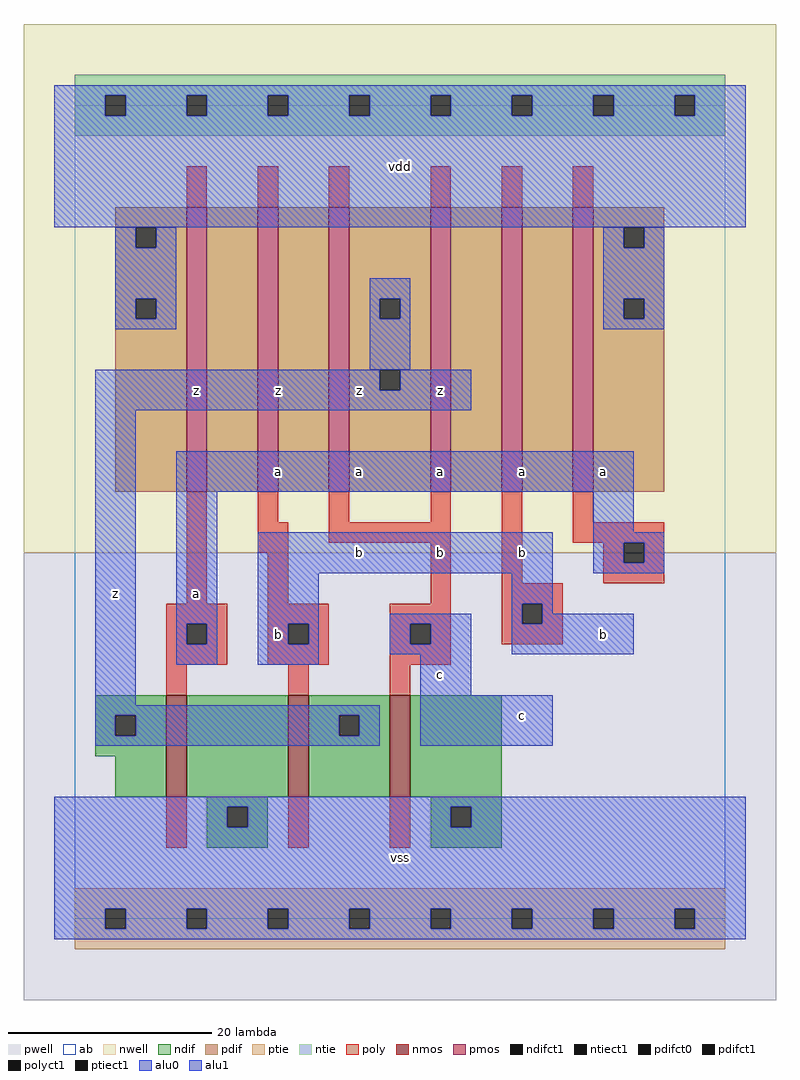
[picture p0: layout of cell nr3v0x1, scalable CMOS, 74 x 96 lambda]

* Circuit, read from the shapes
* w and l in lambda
.subckt nr3v0x1 a b c vdd vss z
M1 vss a z vss nfet w=10 l=2
M2 z b vss vss nfet w=10 l=2
M3 vss c z vss nfet w=10 l=2
M4 n1 a vdd vdd pfet w=28 l=2
M5 n2 b n1 vdd pfet w=28 l=2
M6 z c n2 vdd pfet w=28 l=2
M7 n3 c z vdd pfet w=28 l=2
M8 n4 b n3 vdd pfet w=28 l=2
M9 vdd a n4 vdd pfet w=28 l=2
.ends

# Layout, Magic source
magic
tech scmos
<< ab >>
rect 0 0 64 80
<< nwell >>
rect -5 36 69 88
<< pwell >>
rect -5 -8 69 36
<< poly >>
rect 11 70 13 74
rect 18 70 20 74
rect 25 70 27 74
rect 35 70 37 74
rect 42 70 44 74
rect 49 70 51 74
rect 11 31 13 42
rect 18 39 20 42
rect 25 39 27 42
rect 35 39 37 42
rect 18 36 21 39
rect 25 37 37 39
rect 19 31 21 36
rect 35 31 37 37
rect 9 29 15 31
rect 9 27 11 29
rect 13 27 15 29
rect 9 25 15 27
rect 19 29 25 31
rect 19 27 21 29
rect 23 27 25 29
rect 19 25 25 27
rect 31 29 37 31
rect 31 27 33 29
rect 35 27 37 29
rect 42 33 44 42
rect 49 39 51 42
rect 49 37 58 39
rect 52 35 54 37
rect 56 35 58 37
rect 52 33 58 35
rect 42 31 48 33
rect 42 29 44 31
rect 46 29 48 31
rect 42 27 48 29
rect 31 25 37 27
rect 9 22 11 25
rect 21 22 23 25
rect 31 22 33 25
rect 9 7 11 12
rect 21 7 23 12
rect 31 7 33 12
<< ndif >>
rect 2 20 9 22
rect 2 18 4 20
rect 6 18 9 20
rect 2 16 9 18
rect 4 12 9 16
rect 11 12 21 22
rect 23 20 31 22
rect 23 18 26 20
rect 28 18 31 20
rect 23 12 31 18
rect 33 12 42 22
rect 13 11 19 12
rect 13 9 15 11
rect 17 9 19 11
rect 13 7 19 9
rect 35 11 42 12
rect 35 9 37 11
rect 39 9 42 11
rect 35 7 42 9
<< pdif >>
rect 4 68 11 70
rect 4 66 6 68
rect 8 66 11 68
rect 4 61 11 66
rect 4 59 6 61
rect 8 59 11 61
rect 4 42 11 59
rect 13 42 18 70
rect 20 42 25 70
rect 27 61 35 70
rect 27 59 30 61
rect 32 59 35 61
rect 27 54 35 59
rect 27 52 30 54
rect 32 52 35 54
rect 27 42 35 52
rect 37 42 42 70
rect 44 42 49 70
rect 51 68 58 70
rect 51 66 54 68
rect 56 66 58 68
rect 51 61 58 66
rect 51 59 54 61
rect 56 59 58 61
rect 51 42 58 59
<< alu1 >>
rect -2 81 66 82
rect -2 79 3 81
rect 5 79 11 81
rect 13 79 19 81
rect 21 79 27 81
rect 29 79 35 81
rect 37 79 43 81
rect 45 79 51 81
rect 53 79 59 81
rect 61 79 66 81
rect -2 68 66 79
rect 2 52 30 54
rect 32 52 39 54
rect 2 50 39 52
rect 2 21 6 50
rect 10 42 55 46
rect 10 29 14 42
rect 51 38 55 42
rect 10 27 11 29
rect 13 27 14 29
rect 10 25 14 27
rect 18 34 47 38
rect 51 37 58 38
rect 51 35 54 37
rect 56 35 58 37
rect 51 34 58 35
rect 18 29 24 34
rect 43 31 47 34
rect 18 27 21 29
rect 23 27 24 29
rect 18 25 24 27
rect 31 29 39 30
rect 31 27 33 29
rect 35 27 39 29
rect 31 26 39 27
rect 43 29 44 31
rect 46 30 47 31
rect 46 29 55 30
rect 43 26 55 29
rect 34 22 39 26
rect 2 20 30 21
rect 2 18 4 20
rect 6 18 26 20
rect 28 18 30 20
rect 2 17 30 18
rect 34 17 47 22
rect -2 11 66 12
rect -2 9 15 11
rect 17 9 37 11
rect 39 9 66 11
rect -2 1 66 9
rect -2 -1 3 1
rect 5 -1 11 1
rect 13 -1 19 1
rect 21 -1 27 1
rect 29 -1 35 1
rect 37 -1 43 1
rect 45 -1 51 1
rect 53 -1 59 1
rect 61 -1 66 1
rect -2 -2 66 -1
<< ptie >>
rect 0 1 64 3
rect 0 -1 3 1
rect 5 -1 11 1
rect 13 -1 19 1
rect 21 -1 27 1
rect 29 -1 35 1
rect 37 -1 43 1
rect 45 -1 51 1
rect 53 -1 59 1
rect 61 -1 64 1
rect 0 -3 64 -1
<< ntie >>
rect 0 81 64 83
rect 0 79 3 81
rect 5 79 11 81
rect 13 79 19 81
rect 21 79 27 81
rect 29 79 35 81
rect 37 79 43 81
rect 45 79 51 81
rect 53 79 59 81
rect 61 79 64 81
rect 0 77 64 79
<< nmos >>
rect 9 12 11 22
rect 21 12 23 22
rect 31 12 33 22
<< pmos >>
rect 11 42 13 70
rect 18 42 20 70
rect 25 42 27 70
rect 35 42 37 70
rect 42 42 44 70
rect 49 42 51 70
<< polyct1 >>
rect 11 27 13 29
rect 21 27 23 29
rect 33 27 35 29
rect 54 35 56 37
rect 44 29 46 31
<< ndifct1 >>
rect 4 18 6 20
rect 26 18 28 20
rect 15 9 17 11
rect 37 9 39 11
<< ntiect1 >>
rect 3 79 5 81
rect 11 79 13 81
rect 19 79 21 81
rect 27 79 29 81
rect 35 79 37 81
rect 43 79 45 81
rect 51 79 53 81
rect 59 79 61 81
<< ptiect1 >>
rect 3 -1 5 1
rect 11 -1 13 1
rect 19 -1 21 1
rect 27 -1 29 1
rect 35 -1 37 1
rect 43 -1 45 1
rect 51 -1 53 1
rect 59 -1 61 1
<< pdifct0 >>
rect 6 66 8 68
rect 6 59 8 61
rect 30 59 32 61
rect 54 66 56 68
rect 54 59 56 61
<< pdifct1 >>
rect 30 52 32 54
<< alu0 >>
rect 4 66 6 68
rect 8 66 10 68
rect 4 61 10 66
rect 52 66 54 68
rect 56 66 58 68
rect 4 59 6 61
rect 8 59 10 61
rect 4 58 10 59
rect 29 61 33 63
rect 29 59 30 61
rect 32 59 33 61
rect 29 54 33 59
rect 52 61 58 66
rect 52 59 54 61
rect 56 59 58 61
rect 52 58 58 59
<< labels >>
rlabel alu1 12 32 12 32 6 a
rlabel alu1 4 32 4 32 6 z
rlabel alu1 12 52 12 52 6 z
rlabel alu1 28 36 28 36 6 b
rlabel alu1 20 28 20 28 6 b
rlabel alu1 20 44 20 44 6 a
rlabel alu1 28 44 28 44 6 a
rlabel alu1 28 52 28 52 6 z
rlabel alu1 20 52 20 52 6 z
rlabel alu1 32 6 32 6 6 vss
rlabel alu1 44 20 44 20 6 c
rlabel alu1 36 24 36 24 6 c
rlabel alu1 36 36 36 36 6 b
rlabel alu1 44 36 44 36 6 b
rlabel alu1 44 44 44 44 6 a
rlabel alu1 36 44 36 44 6 a
rlabel alu1 36 52 36 52 6 z
rlabel alu1 32 74 32 74 6 vdd
rlabel alu1 52 28 52 28 6 b
rlabel alu1 52 44 52 44 6 a
<< end >>
